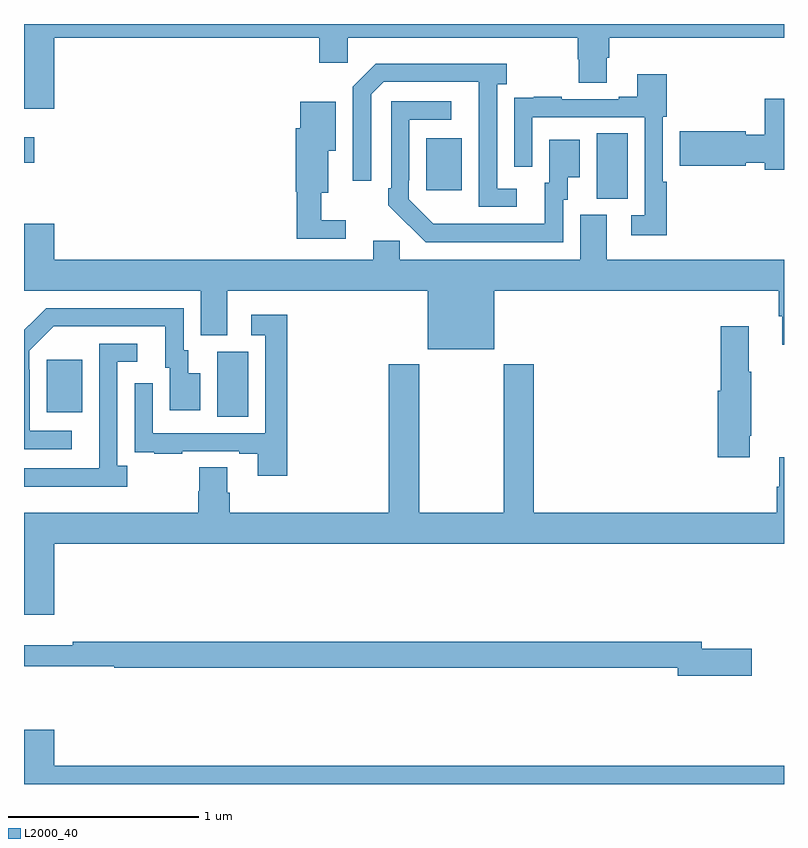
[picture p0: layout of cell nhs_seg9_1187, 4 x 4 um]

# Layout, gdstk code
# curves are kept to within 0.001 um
import gdstk
lib = gdstk.Library(unit=1e-6, precision=1e-09)
def R(c, l, rs):  # rectangles x0, y0, x1, y1
    for r in rs: c.add(gdstk.rectangle(r[:2], r[2:], *l))
def P(c, l, *ps):  # polygons
    for p in ps: c.add(gdstk.Polygon(p, *l))
L2000_40 = (2000, 40)

nhs_seg9_1187 = lib.new_cell('nhs_seg9_1187')
R(nhs_seg9_1187, L2000_40, [(178.016,1186.432,178.18,1186.776), (177.119,1186.457,177.307,1186.732), (180.014,1187.581,180.178,1187.924), (179.117,1187.625,179.305,1187.899), (177,1187.771,177.055,1187.905)])
P(nhs_seg9_1187, L2000_40, [(177.16,1188.428),(178.553,1188.428),(178.553,1188.297),(178.704,1188.297),(178.704,1188.428),(179.915,1188.428),(179.915,1188.315),(179.92,1188.315),(179.92,1188.19),(180.067,1188.19),(180.067,1188.322),(180.08,1188.322),(180.08,1188.428),(181,1188.428),(181,1188.5),(177,1188.5),(177,1188.054),(177.16,1188.054)],
  [(179.593,1187.634),(179.49,1187.634),(179.49,1188.182),(179.542,1188.182),(179.542,1188.292),(178.852,1188.292),(178.731,1188.171),(178.731,1187.676),(178.827,1187.676),(178.827,1188.129),(178.893,1188.195),(179.393,1188.195),(179.394,1187.538),(179.593,1187.538)],
  [(180.383,1187.669),(180.363,1187.669),(180.363,1188.012),(180.383,1188.012),(180.383,1188.235),(180.227,1188.235),(180.227,1188.118),(180.131,1188.118),(180.131,1188.105),(179.831,1188.105),(179.831,1188.118),(179.683,1188.118),(179.683,1188.111),(179.581,1188.111),(179.581,1188.002),(179.58,1188.002),(179.58,1187.748),(179.676,1187.748),(179.676,1188.009),(180.267,1188.009),(180.267,1187.493),(180.195,1187.493),(180.195,1187.388),(180.383,1187.388)],
  [(181,1188.106),(180.899,1188.106),(180.899,1187.918),(180.798,1187.918),(180.798,1187.936),(180.45,1187.936),(180.45,1187.753),(180.798,1187.753),(180.798,1187.771),(180.899,1187.771),(180.899,1187.732),(181,1187.732)],
  [(179.838,1187.574),(179.863,1187.574),(179.863,1187.693),(179.926,1187.693),(179.926,1187.89),(179.765,1187.89),(179.765,1187.664),(179.741,1187.664),(179.741,1187.448),(179.154,1187.449),(179.025,1187.577),(179.025,1187.677),(179.028,1187.677),(179.028,1187.997),(179.248,1187.997),(179.248,1188.093),(178.932,1188.093),(178.932,1187.635),(178.917,1187.635),(178.917,1187.547),(179.114,1187.352),(179.838,1187.352)],
  [(178.693,1187.467),(178.564,1187.467),(178.564,1187.612),(178.6,1187.612),(178.6,1187.834),(178.642,1187.834),(178.642,1188.091),(178.454,1188.091),(178.454,1187.952),(178.43,1187.952),(178.43,1187.616),(178.435,1187.616),(178.435,1187.37),(178.693,1187.37)],
  [(179.476,1187.096),(180.973,1187.096),(180.973,1186.962),(180.992,1186.962),(180.992,1186.812),(181,1186.812),(181,1187.26),(180.067,1187.26),(180.067,1187.496),(179.927,1187.496),(179.927,1187.26),(178.977,1187.26),(178.977,1187.358),(178.838,1187.358),(178.838,1187.26),(177.16,1187.26),(177.16,1187.449),(177,1187.449),(177,1187.096),(177.929,1187.096),(177.929,1186.861),(178.069,1186.861),(178.069,1187.096),(179.126,1187.096),(179.126,1186.787),(179.476,1186.787)],
  [(177.25,1186.359),(177.03,1186.359),(177.03,1186.679),(177.027,1186.679),(177.027,1186.779),(177.156,1186.908),(177.743,1186.908),(177.743,1186.692),(177.767,1186.692),(177.767,1186.467),(177.928,1186.467),(177.928,1186.663),(177.865,1186.663),(177.865,1186.782),(177.84,1186.782),(177.84,1187.004),(177.116,1187.004),(177.025,1186.913),(177.024,1186.914),(177,1186.89),(177,1186.263),(177.25,1186.263)],
  [(178.385,1186.969),(178.197,1186.969),(178.197,1186.863),(178.269,1186.863),(178.269,1186.347),(177.678,1186.347),(177.678,1186.609),(177.582,1186.609),(177.582,1186.354),(177.583,1186.354),(177.583,1186.245),(177.685,1186.245),(177.685,1186.239),(177.833,1186.239),(177.833,1186.251),(178.133,1186.251),(178.133,1186.239),(178.229,1186.239),(178.229,1186.122),(178.385,1186.122)],
  [(180.82,1186.333),(180.828,1186.333),(180.828,1186.669),(180.814,1186.669),(180.814,1186.909),(180.668,1186.909),(180.668,1186.569),(180.65,1186.569),(180.65,1186.221),(180.82,1186.221)],
  [(177.544,1186.174),(177.492,1186.174),(177.492,1186.722),(177.595,1186.722),(177.595,1186.818),(177.396,1186.818),(177.396,1186.361),(177.395,1186.361),(177.395,1186.161),(177,1186.161),(177,1186.064),(177.544,1186.064)],
  [(177.16,1185.764),(181,1185.764),(181,1186.219),(180.974,1186.219),(180.974,1186.065),(180.962,1186.065),(180.962,1185.928),(179.684,1185.928),(179.684,1186.708),(179.524,1186.708),(179.524,1185.928),(179.079,1185.928),(179.079,1186.708),(178.919,1186.708),(178.919,1185.928),(178.082,1185.928),(178.082,1186.034),(178.069,1186.034),(178.069,1186.166),(177.922,1186.166),(177.922,1186.041),(177.917,1186.041),(177.917,1185.928),(177,1185.928),(177,1185.39),(177.16,1185.39)],
  [(180.829,1185.212),(180.568,1185.212),(180.568,1185.248),(177.256,1185.248),(177.256,1185.229),(177,1185.229),(177,1185.12),(177.476,1185.12),(177.476,1185.112),(180.44,1185.112),(180.44,1185.07),(180.829,1185.07)],
  [(181,1184.596),(177.16,1184.596),(177.16,1184.785),(177,1184.785),(177,1184.5),(181,1184.5)])

lib.write_gds('nhs_seg9_1187.gds')
